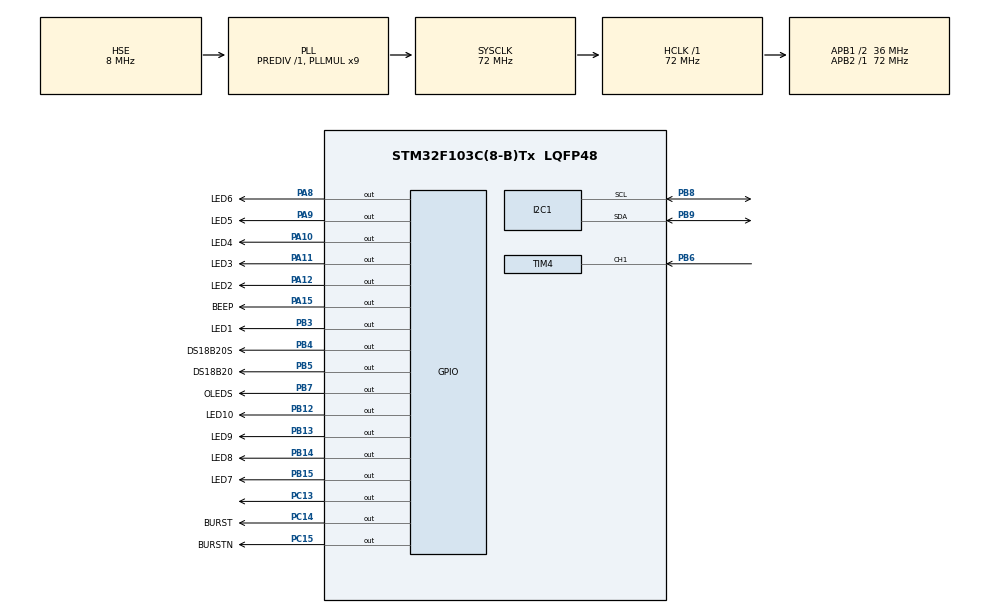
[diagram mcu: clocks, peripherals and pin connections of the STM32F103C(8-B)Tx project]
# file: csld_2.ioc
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I2C1.I2C_Mode=I2C_Fast
IWDG.Prescaler=IWDG_PRESCALER_32
IWDG.Reload=4000
Mcu.Family=STM32F1
Mcu.Name=STM32F103C(8-B)Tx
Mcu.Package=LQFP48
NVIC.PriorityGroup=NVIC_PRIORITYGROUP_4
NVIC.TIM1_UP_IRQn=true\:0\:0\:false\:false\:true\:true\:true\:true
NVIC.TIM2_IRQn=true\:0\:0\:false\:false\:true\:true\:true\:true
NVIC.TIM3_IRQn=true\:0\:0\:false\:false\:true\:true\:true\:true
NVIC.TIM4_IRQn=true\:0\:0\:false\:false\:true\:true\:true\:true
PA10.GPIO_Label=LED4
PA10.Signal=GPIO_Output
PA11.GPIO_Label=LED3
PA11.Signal=GPIO_Output
PA12.GPIO_Label=LED2
PA12.Signal=GPIO_Output
PA15.GPIO_Label=BEEP
PA15.Signal=GPIO_Output
PA8.GPIO_Label=LED6
PA8.Signal=GPIO_Output
PA9.GPIO_Label=LED5
PA9.Signal=GPIO_Output
PB12.GPIO_Label=LED10
PB12.Signal=GPIO_Output
PB13.GPIO_Label=LED9
PB13.Signal=GPIO_Output
PB14.GPIO_Label=LED8
PB14.Signal=GPIO_Output
PB15.GPIO_Label=LED7
PB15.Signal=GPIO_Output
PB3.GPIO_Label=LED1
PB3.Signal=GPIO_Output
PB4.GPIO_Label=DS18B20S
PB4.Signal=GPIO_Output
PB5.GPIO_Label=DS18B20
PB5.GPIO_ModeDefaultOutputPP=GPIO_MODE_OUTPUT_OD
PB5.GPIO_PuPd=GPIO_NOPULL
PB5.Signal=GPIO_Output
PB6.Signal=S_TIM4_CH1
PB7.GPIO_Label=OLEDS
PB7.Signal=GPIO_Output
PB8.Mode=I2C
PB8.Signal=I2C1_SCL
PB9.Mode=I2C
PB9.Signal=I2C1_SDA
PC13-TAMPER-RTC.PinState=GPIO_PIN_SET
PC13-TAMPER-RTC.Signal=GPIO_Output
PC14-OSC32_IN.GPIO_Label=BURST
PC14-OSC32_IN.Signal=GPIO_Output
PC15-OSC32_OUT.GPIO_Label=BURSTN
PC15-OSC32_OUT.PinState=GPIO_PIN_SET
PC15-OSC32_OUT.Signal=GPIO_Output
PD0-OSC_IN.Mode=HSE-External-Oscillator
PD0-OSC_IN.Signal=RCC_OSC_IN
PD1-OSC_OUT.Mode=HSE-External-Oscillator
PD1-OSC_OUT.Signal=RCC_OSC_OUT
ProjectManager.HeapSize=0x200
ProjectManager.StackSize=0x400
ProjectManager.TargetToolchain=STM32CubeIDE
RCC.AHBFreq_Value=72000000
RCC.APB1CLKDivider=RCC_HCLK_DIV2
RCC.APB1Freq_Value=36000000
RCC.APB1TimFreq_Value=72000000
RCC.APB2Freq_Value=72000000
RCC.APB2TimFreq_Value=72000000
RCC.HCLKFreq_Value=72000000
RCC.PLLMUL=RCC_PLL_MUL9
RCC.PLLSourceVirtual=RCC_PLLSOURCE_HSE
RCC.SYSCLKFreq_VALUE=72000000
RCC.SYSCLKSource=RCC_SYSCLKSOURCE_PLLCLK
RCC.USBFreq_Value=72000000
SH.S_TIM4_CH1.0=TIM4_CH1,Input_Capture1_from_TI1
TIM1.Period=999
TIM1.Prescaler=72-1
TIM2.Period=65535
TIM2.Prescaler=72-1
TIM3.Period=1250-1
TIM3.Prescaler=7200-1
TIM4.Channel-Input_Capture1_from_TI1=TIM_CHANNEL_1
TIM4.ICFilter_CH1=15
TIM4.Prescaler=72-1
VP_IWDG_VS_IWDG.Mode=IWDG_Activate
VP_SYS_VS_ND.Mode=No_Debug
VP_TIM1_VS_ClockSourceINT.Mode=Internal
VP_TIM2_VS_ClockSourceINT.Mode=Internal
VP_TIM3_VS_ClockSourceINT.Mode=Internal
VP_TIM4_VS_ClockSourceINT.Mode=Internal
board=custom

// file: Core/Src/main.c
/* USER CODE BEGIN Header */
/**
  ******************************************************************************
  * @file           : main.c
  * @brief          : Main program body
  ******************************************************************************
  * @attention
  *
  * Copyright (c) 2024 STMicroelectronics.
  * All rights reserved.
  *
  * This software is licensed under terms that can be found in the LICENSE file
  * in the root directory of this software component.
  * If no LICENSE file comes with this software, it is provided AS-IS.
  *
  ******************************************************************************
  */
/* USER CODE END Header */
#include "main.h"
#include "i2c.h"
#include "iwdg.h"
#include "tim.h"
#include "gpio.h"

/* USER CODE BEGIN Includes */
#include "burst.h"
#include "delay.h"
#include "stdio.h"
#include "string.h"
#include "oled.h"
#include "ds18b20.h"
#include "stdint.h"
#include "lightbar.h"
#include "distanceProc.h"
#include "beep.h"
#include "iwdg.h"
#include "math.h"
#include "queue.h"

/* USER CODE END Includes */

/* USER CODE BEGIN PD */
#define SOFT_FILTER 1	//软件滤波(1即为不启动)
#define LOOP_INTERVAL 63 //主循环延时，主要体现在OLED刷新率和脉冲间隔,单位毫秒
/* USER CODE END PD */

/* USER CODE BEGIN PM */
//触发定时器更新中断时定时器并不会停止计数，需要手动停停止
//停止定时器输入捕获并不会停止定时器的计数。
void  HAL_TIM_PeriodElapsedCallback(TIM_HandleTypeDef *htim){
	//TIM1用于蜂鸣器发声
	if(htim == &htim1){
		//距离适当
		if(!beep_too_close){
			if(__HAL_TIM_GET_AUTORELOAD(&htim1)== BEEP_FREQUENCY_AUTORELOAD){
				//先关闭定时器中断
				HAL_TIM_Base_Stop_IT(&htim1);
				if(beep_rounds<BEEP_ROUNDS*2){
					HAL_GPIO_TogglePin(BEEP_GPIO_Port, BEEP_Pin);
					beep_rounds++;
					//继续启动计数器
				}
				else{
					//如果已完成十次脉冲，就进入延时阶段
					beep_rounds=0;
					//设置重复计数寄存器RCR
					TIM1->RCR = beep_interval_rounds_tre-1;
					//设置计时器重装初值为3999，这样一次溢出就消耗4ms
					__HAL_TIM_SET_AUTORELOAD(&htim1,3999);
				}
			}
			//如果中断产生时，定时器处于的是延时模式，就切换回脉冲
			else if(__HAL_TIM_GET_AUTORELOAD(&htim1)== 3999){
				//先关闭定时器，以防设置重装初值时跑飞
				HAL_TIM_Base_Stop_IT(&htim1);
				//清零RCR（重复计数寄存器）
				TIM1->RCR =0;
				//设置定时器重装值
				__HAL_TIM_SET_AUTORELOAD(&htim1,BEEP_FREQUENCY_AUTORELOAD);
			}
			//设置计数值为0后再重新打开定时器
			__HAL_TIM_SET_COUNTER(&htim1,0);
			//启动计时器
			HAL_TIM_Base_Start_IT(&htim1);
		}
		//距离过近，切换为长鸣
		else{
			HAL_TIM_Base_Stop_IT(&htim1);
			HAL_GPIO_TogglePin(BEEP_GPIO_Port, BEEP_Pin);
			//设置计数值为0后再重新打开定时器
			__HAL_TIM_SET_COUNTER(&htim1,0);
			//启动计时器
			HAL_TIM_Base_Start_IT(&htim1);
		}
	}
	//TIM3用于实现灯条闪烁
	else if(htim == &htim3){
		Toggle_LightBar();
	}
	//TIM4用于实现距离测量计时
	else if(htim ==&htim4){
		timeout =1;
	}
}

/* USER CODE END PM */

void SystemClock_Config(void);

int main(void)
{

  /* MCU Configuration--------------------------------------------------------*/

  /* Reset of all peripherals, Initializes the Flash interface and the Systick. */
  HAL_Init();

  /* Configure the system clock */
  SystemClock_Config();

  /* Initialize all configured peripherals */
  MX_GPIO_Init();
  MX_I2C1_Init();
  MX_TIM4_Init();
  MX_TIM2_Init();
  MX_TIM3_Init();
  MX_IWDG_Init();
  MX_TIM1_Init();
  /* USER CODE BEGIN 2 */
  //初始化OLED
  OLED_Init();
  //清空OLED屏幕
  OLED_ClearScreen();
  //显示静态的文本
  OLED_SoundSpeed_Text();
  OLED_ShowTemperature_Text();
  OLED_ShowDistance_Text();
  OLED_SoundSpeed_Unit();
  //启动IWDG独立看门狗40Khz进行32分频，初值4000，超时时间3.2s
  HAL_IWDG_Init(&hiwdg);
  //初始化一个全局队列，用于数据平滑处理
  initQueue(&globalQueue);
  /* USER CODE END 2 */

  /* Infinite loop */
  /* USER CODE BEGIN WHILE */

  while (1)
  {
	  //喂狗
	  HAL_IWDG_Refresh(&hiwdg);
	  //如果DS18B20不在线，就阻塞整个程序
	  if(!ds18b20_online){
		  while(1){
			  HAL_Delay(1000);
		  }
	  }
	  //清空TIM4计数器
	  __HAL_TIM_SET_COUNTER(&htim4,0);
	  //测距成功标志位清0
	  success =0;
	  //清空ccr1标志位
	  __HAL_TIM_CLEAR_FLAG(&htim4,TIM_FLAG_CC1);
	  //复位超时标志位
	  timeout  = 0;
	  //赋值一个用于判断超时的时间节点
	  uint32_t expireTime = HAL_GetTick()+LOOP_INTERVAL;
	  //软件滤波的缓存
	  uint8_t filter_counts = 0;
	  //启动定时器4并打开中断
	  HAL_TIM_Base_Start_IT(&htim4);
	  //发射脉冲
	  Burst_Signal();
	  //用于屏蔽探头间声波串扰，这将影响雷达死区
	  //Delay_us(150);
	  //打开TIM4输入捕获功能，通道1
	  HAL_TIM_IC_Start(&htim4, TIM_CHANNEL_1);

	  //如果未超时，就一直循环检测输入捕获寄存器
	  while(!timeout){
		  //如果标志位被置位并且计数器未溢出，说明已经捕获到回声，可以跳出循环进行下一步处理
		  if(__HAL_TIM_GET_FLAG(&htim4,TIM_FLAG_CC1)){
			  filter_counts++;
			  //如果捕获的次数大于软件滤波阈值，则代表捕获到有效信号
			  if(filter_counts>=SOFT_FILTER){
				  //先关闭TIM4定时器输入捕获
				  HAL_TIM_IC_Stop(&htim4, TIM_CHANNEL_1);
				  //再关闭TIM4定时器计数和中断功能
				  HAL_TIM_Base_Stop_IT(&htim4);
				  //标记测距成功
				  success=1;
				  break;
			  }
			  //清空CCR1标志位
			  __HAL_TIM_CLEAR_FLAG(&htim4,TIM_FLAG_CC1);
		  }
	  }
	  //先关闭TIM4定时器输入捕获
	  HAL_TIM_IC_Stop(&htim4, TIM_CHANNEL_1);
	  //再关闭TIM4定时器计数和中断功能
	  HAL_TIM_Base_Stop_IT(&htim4);
	  //如果测距成功，就开始进行距离计算
	  if(success){
		  Distance_Caculate();
		  if(distance<10){
			  sprintf(distance_msg,"%.4f\n",distance);
		  }
		  else{
			  sprintf(distance_msg,"%.3f\n",distance);
		  }
		  OLED_ShowDistance((uint8_t*)distance_msg);
		  //确保每次猝发信号的间隔一致
		  if(HAL_GetTick()<expireTime){
			  HAL_Delay(expireTime-HAL_GetTick());
		  }
	  }
	  //如果测距不成功
	  else{
		  //如果队列不为空
		  if(!isQueueEmpty(&globalQueue)){
			  //如果距离过远出现次数在3次以下，判定为偶然情况，继续显示上一次距离
			  if(count_toofar<=3){
				  distance = queueAverage(&globalQueue);
				  count_toofar++;
				  if(distance<10){
					  sprintf(distance_msg,"%.4f\n",distance);
				  }
				  else{
					  sprintf(distance_msg,"%.3f\n",distance);
				  }
				  OLED_ShowDistance((uint8_t*)distance_msg);
			  }
			  //距离过远次数出现在3次以上，判定为确实超出测量范围
			  else{
				  distance =1100;
				  clearQueue(&globalQueue);
				  OLED_ShowDistance_SoFar();
				  count_toofar=0;
			  }
		  }
		  //如果队列为空，直接打印距离过远
		  else{
			  //复位距离过远记录次数
			  count_toofar=0;
			  distance =1100;
			  //在显示屏打印距离过远的文字
			  OLED_ShowDistance_SoFar();
		  }
	  }

	  //变换灯条
	  Change_LightBar();
	  //变换蜂鸣频率等参数->具体要靠中断
	  Beep();
	  //测温状态机
	  DS18B20_ReadTemperature();
	  //运行状态灯
	  HAL_GPIO_TogglePin(GPIOC, GPIO_PIN_13);

    /* USER CODE END WHILE */

  }
}

void SystemClock_Config(void)
{
  RCC_OscInitTypeDef RCC_OscInitStruct = {0};
  RCC_ClkInitTypeDef RCC_ClkInitStruct = {0};

  /** Initializes the RCC Oscillators according to the specified parameters
  * in the RCC_OscInitTypeDef structure.
  */
  RCC_OscInitStruct.OscillatorType = RCC_OSCILLATORTYPE_LSI|RCC_OSCILLATORTYPE_HSE;
  RCC_OscInitStruct.HSEState = RCC_HSE_ON;
  RCC_OscInitStruct.HSEPredivValue = RCC_HSE_PREDIV_DIV1;
  RCC_OscInitStruct.HSIState = RCC_HSI_ON;
  RCC_OscInitStruct.LSIState = RCC_LSI_ON;
  RCC_OscInitStruct.PLL.PLLState = RCC_PLL_ON;
  RCC_OscInitStruct.PLL.PLLSource = RCC_PLLSOURCE_HSE;
  RCC_OscInitStruct.PLL.PLLMUL = RCC_PLL_MUL9;
  if (HAL_RCC_OscConfig(&RCC_OscInitStruct) != HAL_OK)
  {
    Error_Handler();
  }

  /** Initializes the CPU, AHB and APB buses clocks
  */
  RCC_ClkInitStruct.ClockType = RCC_CLOCKTYPE_HCLK|RCC_CLOCKTYPE_SYSCLK
                              |RCC_CLOCKTYPE_PCLK1|RCC_CLOCKTYPE_PCLK2;
  RCC_ClkInitStruct.SYSCLKSource = RCC_SYSCLKSOURCE_PLLCLK;
  RCC_ClkInitStruct.AHBCLKDivider = RCC_SYSCLK_DIV1;
  RCC_ClkInitStruct.APB1CLKDivider = RCC_HCLK_DIV2;
  RCC_ClkInitStruct.APB2CLKDivider = RCC_HCLK_DIV1;

  if (HAL_RCC_ClockConfig(&RCC_ClkInitStruct, FLASH_LATENCY_2) != HAL_OK)
  {
    Error_Handler();
  }
}

void Error_Handler(void)
{
  __disable_irq();
  while (1)
  {
  }
}
